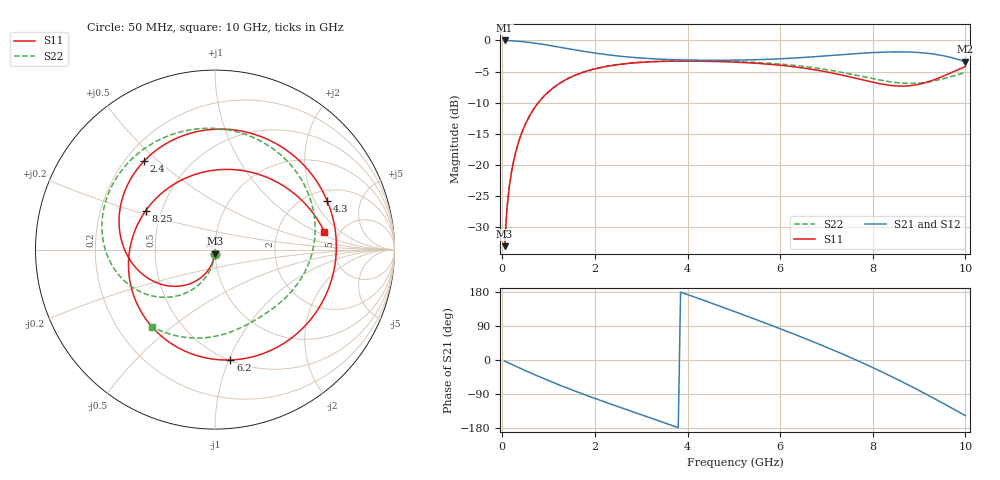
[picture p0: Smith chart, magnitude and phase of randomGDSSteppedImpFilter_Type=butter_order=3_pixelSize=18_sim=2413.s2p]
! freq	dB(S11)	phase(S11)	dB(S12)	phase(S12)
!  dB(S21)	phase(S21)	dB(S22)	phase(S22)
!S-par simulation data
#  GHz  S  DB  R 50
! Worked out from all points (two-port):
!   200 points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, 50 MHz to 10 GHz, reference 50 ohm
!   highest |S21| = 0.00 dB at 50 MHz (marker M1); lowest = -3.4 dB at 10 GHz (marker M2)
!   |S21| within 3 dB of the highest: start of sweep to 3.415 GHz; 5.811 GHz to 9.825 GHz (4.015 GHz wide, 51.4 % of centre)
!   lowest |S11| = -33.0 dB at 50 MHz (marker M3), VSWR 1.05, Z = 49.8 - j2.23 ohm
!   |S11| at or under -10 dB: start of sweep to 777.8 MHz
!   |S22| runs from -33.0 to -3.3 dB; largest |S21 - S12| = 0
!   S11 on the Smith chart (normalised r, x): 50 MHz: 1.00, -0.04; 2.4 GHz: 0.27, +0.45; 4.3 GHz: 2.49, +2.53; 6.2 GHz: 0.51, -1.01; 8.25 GHz: 0.41, +0.22; 10 GHz: 3.81, +1.22
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0.05  -33.00 -93.3  -0.00 -2.9  -0.00 -2.9  -32.99 -92.5
0.1  -27.00 -96.8  -0.02 -5.7  -0.02 -5.7  -26.99 -95.1
0.2  -21.05 -103.4  -0.05 -11.4  -0.05 -11.4  -21.04 -100.2
0.5  -13.41 -122.6  -0.24 -28.0  -0.24 -28.0  -13.40 -114.5
1.1  -7.61 -159.1  -0.91 -59.4  -0.91 -59.4  -7.60 -140.9
1.75  -5.10 164.1  -1.74 -90.2  -1.74 -90.2  -5.09 -165.8
2.4  -3.98 128.8  -2.41 -118.8  -2.41 -118.8  -3.96 172.4
2.9  -3.57 101.7  -2.77 -140.1  -2.77 -140.1  -3.55 156.9
3.4  -3.38 74.2  -3.00 -161.4  -3.00 -161.4  -3.34 142.1
3.8  -3.32 51.8  -3.11 -178.6  -3.11 -178.6  -3.28 130.3
4.3  -3.33 23.6  -3.17 159.7  -3.17 159.7  -3.28 115.5
5.05  -3.49 -18.8  -3.16 126.3  -3.16 126.3  -3.40 92.0
5.65  -3.75 -52.0  -3.05 98.9  -3.05 98.9  -3.60 71.6
6.2  -4.14 -82.1  -2.87 73.1  -2.87 73.1  -3.92 51.1
6.7  -4.65 -109.6  -2.64 48.8  -2.64 48.8  -4.35 31.1
7.55  -5.93 -159.8  -2.17 4.9  -2.17 4.9  -5.45 -5.2
8.25  -7.07 150.9  -1.87 -34.5  -1.87 -34.5  -6.49 -35.4
8.35  -7.18 143.0  -1.85 -40.4  -1.85 -40.4  -6.61 -39.6
8.8  -7.27 105.2  -1.86 -67.8  -1.86 -67.8  -6.90 -58.8
9.15  -6.74 75.0  -2.04 -90.0  -2.04 -90.0  -6.71 -75.2
9.55  -5.63 42.3  -2.49 -116.4  -2.49 -116.4  -6.09 -97.6
10  -4.19 9.3  -3.42 -146.9  -3.42 -146.9  -5.14 -129.0
